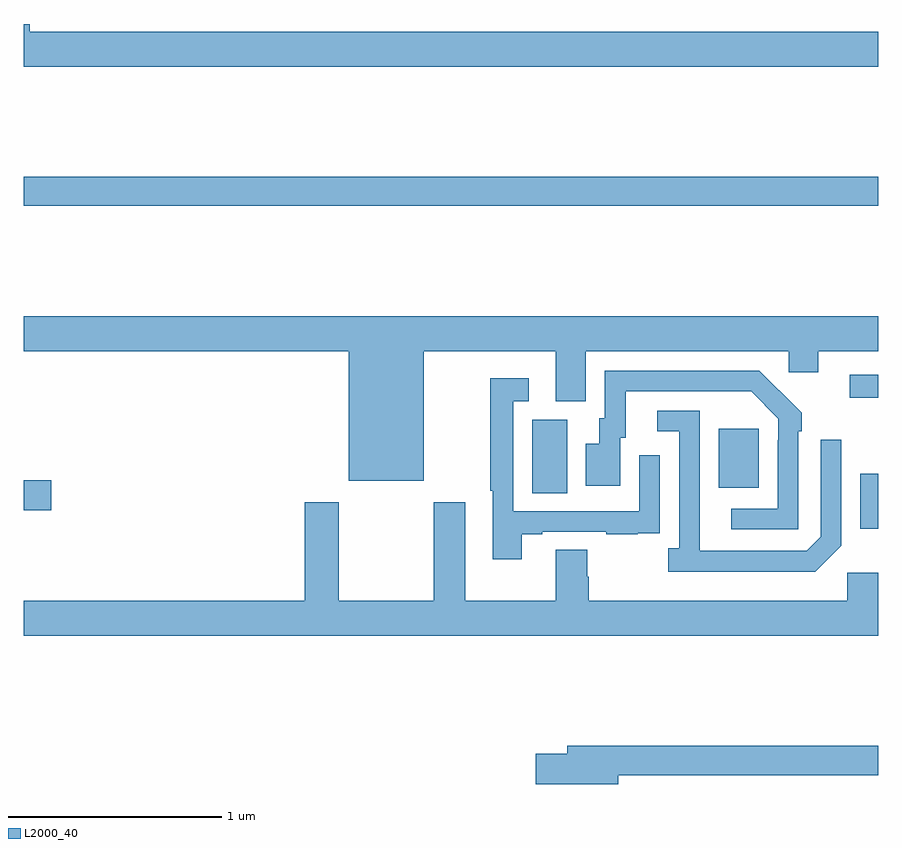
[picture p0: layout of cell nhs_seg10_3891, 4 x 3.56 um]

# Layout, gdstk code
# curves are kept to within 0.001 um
import gdstk
lib = gdstk.Library(unit=1e-6, precision=1e-09)
def R(c, l, rs):  # rectangles x0, y0, x1, y1
    for r in rs: c.add(gdstk.rectangle(r[:2], r[2:], *l))
def P(c, l, *ps):  # polygons
    for p in ps: c.add(gdstk.Polygon(p, *l))
L2000_40 = (2000, 40)

nhs_seg10_3891 = lib.new_cell('nhs_seg10_3891')
R(nhs_seg10_3891, L2000_40, [(328.916,1314.137,329,1314.394), (325,1314.223,325.129,1314.365), (327.38,1314.304,327.544,1314.648), (328.253,1314.329,328.441,1314.604), (328.866,1314.75,329,1314.858), (325,1315.648,329,1315.784)])
P(nhs_seg10_3891, L2000_40, [(329,1316.464),(325.028,1316.464),(325.028,1316.5),(325,1316.5),(325,1316.3),(329,1316.3)],
  [(326.872,1314.968),(327.491,1314.968),(327.491,1314.733),(327.631,1314.733),(327.631,1314.968),(328.581,1314.968),(328.581,1314.87),(328.72,1314.87),(328.72,1314.968),(329,1314.968),(329,1315.132),(325,1315.132),(325,1314.968),(326.522,1314.968),(326.522,1314.362),(326.872,1314.362)],
  [(328.626,1314.593),(328.641,1314.593),(328.641,1314.681),(328.444,1314.876),(327.72,1314.876),(327.72,1314.654),(327.695,1314.654),(327.695,1314.535),(327.632,1314.535),(327.632,1314.339),(327.793,1314.339),(327.793,1314.564),(327.817,1314.564),(327.817,1314.78),(328.405,1314.78),(328.533,1314.651),(328.533,1314.551),(328.53,1314.551),(328.53,1314.231),(328.311,1314.231),(328.311,1314.135),(328.626,1314.135)],
  [(327.331,1314.111),(327.427,1314.111),(327.427,1314.123),(327.727,1314.123),(327.727,1314.111),(327.875,1314.111),(327.875,1314.117),(327.977,1314.117),(327.977,1314.226),(327.978,1314.226),(327.978,1314.481),(327.882,1314.481),(327.882,1314.219),(327.291,1314.219),(327.291,1314.735),(327.364,1314.735),(327.364,1314.841),(327.183,1314.841),(327.183,1314.316),(327.195,1314.316),(327.195,1313.994),(327.331,1313.994)],
  [(328.827,1314.057),(328.827,1314.553),(328.731,1314.553),(328.731,1314.099),(328.665,1314.033),(328.165,1314.033),(328.164,1314.69),(327.966,1314.69),(327.966,1314.594),(328.068,1314.594),(328.068,1314.046),(328.017,1314.046),(328.017,1313.936),(328.706,1313.936)],
  [(329,1313.932),(328.854,1313.932),(328.854,1313.8),(327.644,1313.8),(327.644,1313.913),(327.639,1313.913),(327.639,1314.038),(327.491,1314.038),(327.491,1313.8),(327.067,1313.8),(327.067,1314.262),(326.92,1314.262),(326.92,1313.8),(326.475,1313.8),(326.475,1314.262),(326.315,1314.262),(326.315,1313.8),(325,1313.8),(325,1313.636),(329,1313.636)],
  [(327.784,1312.984),(329,1312.984),(329,1313.12),(327.545,1313.12),(327.545,1313.084),(327.396,1313.084),(327.396,1312.942),(327.784,1312.942)])

lib.write_gds('nhs_seg10_3891.gds')
